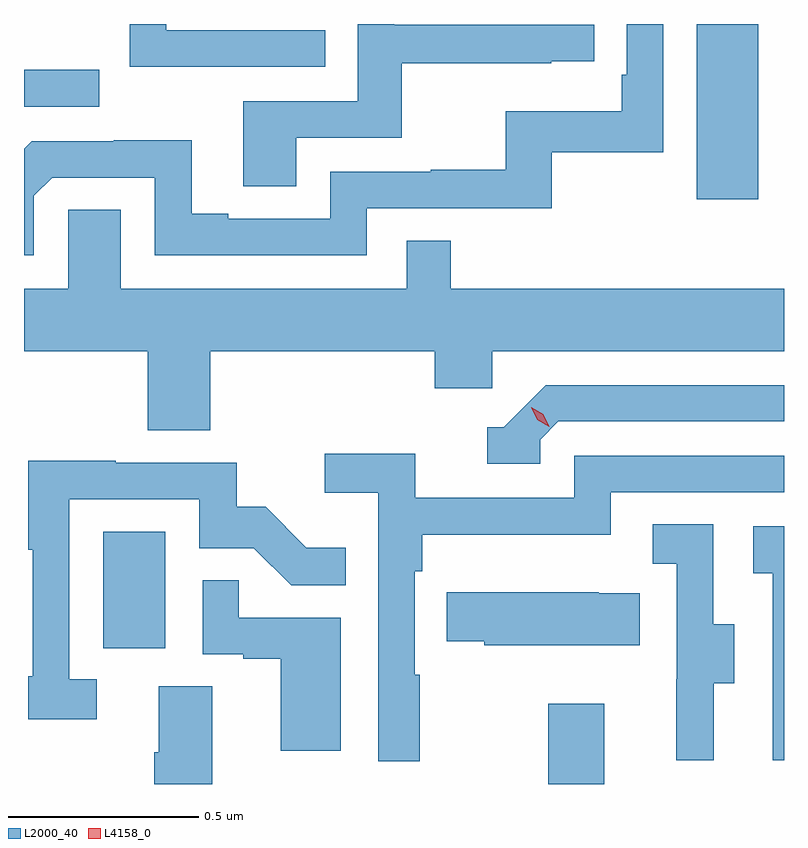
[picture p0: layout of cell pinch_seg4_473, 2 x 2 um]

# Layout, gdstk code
import gdstk
lib = gdstk.Library(unit=1e-6, precision=1e-09)
def R(c, l, rs):  # rectangles x0, y0, x1, y1
    for r in rs: c.add(gdstk.rectangle(r[:2], r[2:], *l))
def P(c, l, *ps):  # polygons
    for p in ps: c.add(gdstk.Polygon(p, *l))
L2000_40 = (2000, 40)
L4158_0 = (4158, 0)

pinch_seg4_473 = lib.new_cell('pinch_seg4_473')
R(pinch_seg4_473, L2000_40, [(913.966,753.057,914.113,753.268), (912.794,753.414,912.958,753.721), (914.357,754.596,914.518,755.057), (912.586,754.839,912.784,754.936)])
P(pinch_seg4_473, L2000_40, [(913.303,754.758),(913.58,754.758),(913.58,754.954),(913.973,754.954),(913.973,754.959),(914.086,754.959),(914.086,755.055),(913.56,755.055),(913.56,755.057),(913.464,755.057),(913.464,754.854),(913.163,754.854),(913.163,754.63),(913.303,754.63)],
  [(913.379,755.04),(912.96,755.04),(912.96,755.057),(912.864,755.057),(912.864,754.944),(913.379,754.944)],
  [(912.612,754.605),(912.66,754.653),(912.93,754.653),(912.93,754.449),(913.488,754.449),(913.488,754.572),(913.975,754.572),(913.975,754.719),(914.268,754.719),(914.268,755.057),(914.172,755.057),(914.172,754.924),(914.159,754.924),(914.159,754.828),(913.854,754.828),(913.854,754.673),(913.657,754.673),(913.657,754.668),(913.392,754.668),(913.392,754.545),(913.123,754.545),(913.123,754.558),(913.027,754.558),(913.027,754.751),(912.822,754.751),(912.822,754.749),(912.606,754.749),(912.586,754.729),(912.586,754.449),(912.612,754.449)],
  [(913.076,754.196),(913.667,754.196),(913.667,754.098),(913.818,754.098),(913.818,754.196),(914.586,754.196),(914.586,754.36),(913.709,754.36),(913.709,754.487),(913.593,754.487),(913.593,754.36),(912.841,754.36),(912.841,754.568),(912.702,754.568),(912.702,754.36),(912.586,754.36),(912.586,754.196),(912.911,754.196),(912.911,753.988),(913.076,753.988)],
  [(913.944,753.963),(913.992,754.011),(914.586,754.011),(914.586,754.107),(913.959,754.107),(913.848,753.996),(913.805,753.996),(913.805,753.9),(913.944,753.9)],
  [(913.627,753.344),(913.614,753.344),(913.614,753.617),(913.634,753.617),(913.634,753.713),(914.13,753.713),(914.13,753.825),(914.586,753.825),(914.586,753.921),(914.034,753.921),(914.034,753.81),(913.616,753.81),(913.616,753.926),(913.377,753.926),(913.377,753.824),(913.518,753.824),(913.518,753.117),(913.627,753.117)],
  [(912.778,753.333),(912.705,753.333),(912.705,753.807),(913.047,753.807),(913.047,753.678),(913.191,753.678),(913.289,753.58),(913.433,753.58),(913.433,753.679),(913.329,753.679),(913.222,753.786),(913.146,753.786),(913.146,753.903),(912.827,753.903),(912.827,753.908),(912.597,753.908),(912.597,753.673),(912.609,753.673),(912.609,753.34),(912.597,753.34),(912.597,753.228),(912.778,753.228)],
  [(914.401,753.322),(914.455,753.322),(914.455,753.477),(914.4,753.477),(914.4,753.74),(914.241,753.74),(914.241,753.637),(914.304,753.637),(914.304,753.333),(914.303,753.333),(914.303,753.12),(914.401,753.12)],
  [(914.586,753.735),(914.505,753.735),(914.505,753.611),(914.556,753.611),(914.556,753.12),(914.586,753.12)],
  [(913.42,753.495),(913.151,753.495),(913.151,753.593),(913.056,753.593),(913.056,753.399),(913.163,753.399),(913.163,753.387),(913.262,753.387),(913.262,753.144),(913.42,753.144)],
  [(914.207,753.559),(914.099,753.559),(914.099,753.562),(913.699,753.562),(913.699,753.433),(913.797,753.433),(913.797,753.422),(914.207,753.422)],
  [(913.081,753.314),(912.941,753.314),(912.941,753.14),(912.929,753.14),(912.929,753.057),(913.081,753.057)])
P(pinch_seg4_473, L4158_0, [(913.968,753.997),(913.937,754.016),(913.921,754.049),(913.921,754.049),(913.921,754.049),(913.952,754.03),(913.968,753.997),(913.968,753.997)])

lib.write_gds('pinch_seg4_473.gds')
